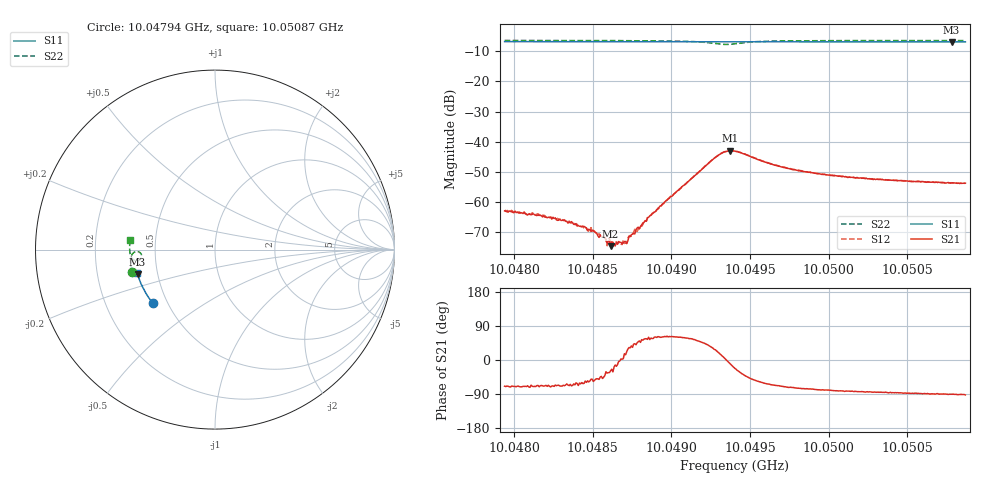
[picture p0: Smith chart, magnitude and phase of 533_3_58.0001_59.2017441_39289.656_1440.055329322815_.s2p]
#  HZ  S  RI  R  50.00
! Rohde & Schwarz Vector Network Analyzer
! Rohde-Schwarz,ZNB20-2Port,1311601062101988,3.16
! Created: UTC 3/21/2024, 1:14:11 AM
! freq[Hz]  re:S11  im:S11  re:S21  im:S21  re:S12  im:S12  re:S22  im:S22
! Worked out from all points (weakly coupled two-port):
!   401 points, 10.04794 GHz to 10.05087 GHz, reference 50 ohm
!   highest |S21| = -43.00 dB at 10.04938 GHz (marker M1); lowest = -74.7 dB at 10.04861 GHz (marker M2)
!   lowest |S11| = -6.9 dB at 10.05078 GHz (marker M3), VSWR 2.65, Z = 19.2 - j6.58 ohm
!   |S11| at or under -10 dB: nowhere
!   |S22| runs from -7.7 to -6.4 dB; largest |S21 - S12| = 0.00049
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1.004794e10  -0.3452 -0.2999  0.000253 -0.000663  0.000309 -0.000623  -0.4621 -0.1226
1.0048138e10  -0.3533 -0.2895  0.000203 -0.000565  0.000261 -0.000557  -0.465 -0.109
1.0048306e10  -0.36 -0.2806  0.000179 -0.000463  0.000255 -0.000449  -0.4671 -0.097
1.0048431e10  -0.3648 -0.274  0.000196 -0.000333  0.000185 -0.000341  -0.4683 -0.0878
1.0048467e10  -0.3662 -0.2721  0.000192 -0.000276  0.000188 -0.000277  -0.4687 -0.0851
1.0048504e10  -0.3676 -0.2699  0.000187 -0.000282  0.000205 -0.000262  -0.469 -0.0824
1.0048577e10  -0.3703 -0.2661  0.000193 -0.00017  0.000195 -0.00016  -0.4696 -0.0766
1.0048599e10  -0.3712 -0.2648  0.00019 -0.000125  0.000207 -0.000124  -0.4698 -0.0749
1.0048614e10  -0.3717 -0.2641  0.000162 -8.78e-05  0.00018 -0.000115  -0.4698 -0.0738
1.0048629e10  -0.3722 -0.2633  0.000183 -0.000112  0.00016 -9.19e-05  -0.4699 -0.0725
1.0048702e10  -0.3749 -0.2593  0.000211 6.26e-05  0.000193 6.83e-05  -0.4701 -0.0666
1.0048863e10  -0.3805 -0.2503  0.000345 0.000473  0.000289 0.00051  -0.4698 -0.0521
1.0048922e10  -0.3826 -0.247  0.000388 0.000709  0.000345 0.000704  -0.4689 -0.0463
1.0049273e10  -0.3936 -0.2267  0.00469 0.00249  0.00448 0.00285  -0.4267 -0.0118
1.0049324e10  -0.395 -0.2239  0.00641 0.00117  0.00634 0.0016  -0.4119 -0.0241
1.0049376e10  -0.3965 -0.2211  0.00695 -0.00132  0.00704 -0.000859  -0.4103 -0.0456
1.0049405e10  -0.3973 -0.2195  0.00644 -0.00265  0.00666 -0.00222  -0.4169 -0.0555
1.0049669e10  -0.4055 -0.2043  0.00154 -0.00371  0.00178 -0.00363  -0.4665 -0.042
1.0049896e10  -0.4117 -0.1908  0.000708 -0.00297  0.000853 -0.00293  -0.4735 -0.0187
1.0050387e10  -0.4236 -0.1607  0.000148 -0.0023  0.000288 -0.00229  -0.4754 0.0202
1.0050782e10  -0.4313 -0.1361  -2.18e-05 -0.00206  8.68e-05 -0.00208  -0.4736 0.0483
1.005087e10  -0.4331 -0.1305  -7.91e-05 -0.00204  7.54e-05 -0.00203  -0.4729 0.0544
